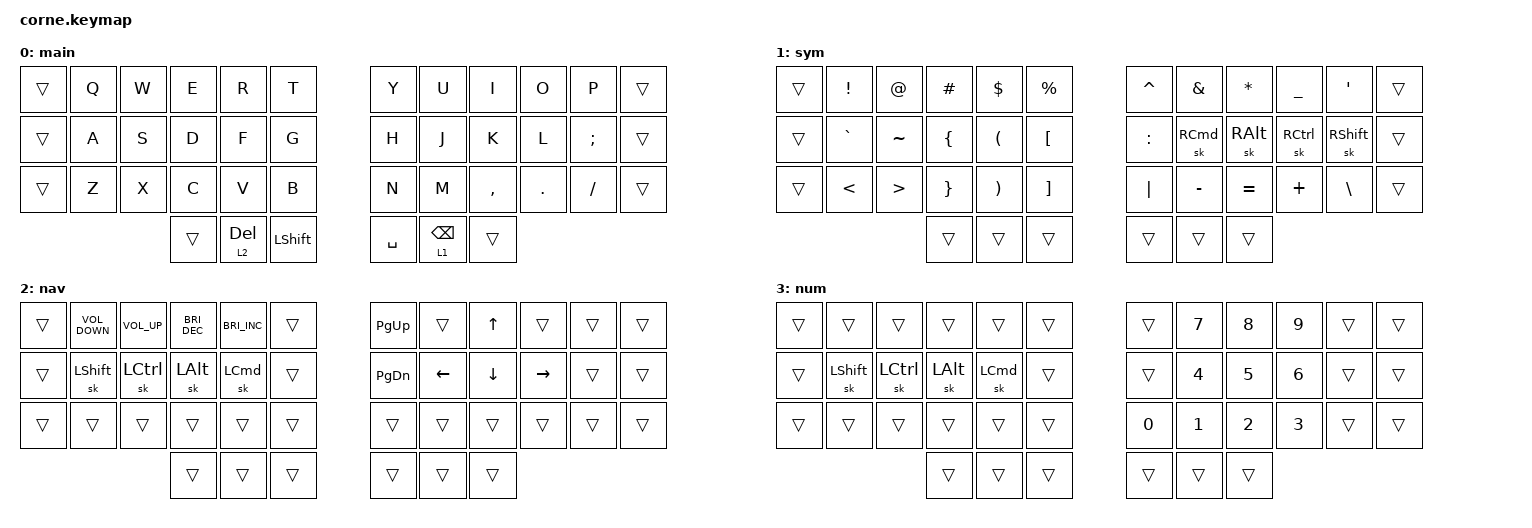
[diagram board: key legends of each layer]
/*
 * Copyright (c) 2020 The ZMK Contributors
 *
 * SPDX-License-Identifier: MIT
 */

#include <behaviors.dtsi>
#include <dt-bindings/zmk/keys.h>

&sk { release-after-ms = <2000>; };

/ {
    combos {
        compatible = "zmk,combos";

        esc {
            bindings = <&kp ESCAPE>;
            key-positions = <2 1>;
        };

        tab {
            bindings = <&kp TAB>;
            key-positions = <26 25>;
        };

        bsp {
            bindings = <&kp BACKSPACE>;
            key-positions = <9 10>;
        };

        ent {
            bindings = <&kp ENTER>;
            key-positions = <33 34>;
        };

        num {
            bindings = <&mo 3>;
            key-positions = <37 40>;
        };

        del {
            bindings = <&kp DEL>;
            key-positions = <21 22>;
        };

        caps {
            bindings = <&kp CAPS>;
            key-positions = <14 13>;
        };
    };

    keymap {
        compatible = "zmk,keymap";

        main_layer {
            // -----------------------------------------------------------------------------------------
            // |  TAB |  Q  |  W  |  E  |  R  |  T  |   |  Y  |  U   |  I  |  O  |  P  | BKSP |
            // | CTRL |  A  |  S  |  D  |  F  |  G  |   |  H  |  J   |  K  |  L  |  ;  |  '   |
            // | SHFT |  Z  |  X  |  C  |  V  |  B  |   |  N  |  M   |  ,  |  .  |  /  | ESC  |
            //                    | GUI | LWR | SPC |   | ENT | RSE  | ALT |

            display-name = "main";
            bindings = <
&trans  &kp Q  &kp W  &kp E   &kp R      &kp T             &kp Y      &kp U            &kp I      &kp O    &kp P          &trans
&trans  &kp A  &kp S  &kp D   &kp F      &kp G             &kp H      &kp J            &kp K      &kp L    &kp SEMICOLON  &trans
&trans  &kp Z  &kp X  &kp C   &kp V      &kp B             &kp N      &kp M            &kp COMMA  &kp DOT  &kp FSLH       &trans
                      &trans  &lt 2 DEL  &kp LEFT_SHIFT    &kp SPACE  &lt 1 BACKSPACE  &trans
            >;
        };

        sym_layer {
            // -----------------------------------------------------------------------------------------
            // |  TAB |  1  |  2  |  3  |  4  |  5  |   |  6  |  7  |  8  |  9  |  0  | BKSP |
            // | BTCLR| BT1 | BT2 | BT3 | BT4 | BT5 |   | LFT | DWN |  UP | RGT |     |      |
            // | SHFT |     |     |     |     |     |   |     |     |     |     |     |      |
            //                    | GUI |     | SPC |   | ENT |     | ALT |

            display-name = "sym";
            bindings = <
&trans  &kp EXCLAMATION  &kp AT_SIGN       &kp POUND        &kp DOLLAR             &kp PERCENT          &kp CARET  &kp AMPERSAND  &kp ASTERISK  &kp UNDERSCORE  &kp SQT        &trans
&trans  &kp GRAVE        &kp TILDE         &kp LEFT_BRACE   &kp LEFT_PARENTHESIS   &kp LEFT_BRACKET     &kp COLON  &sk RCMD       &sk RALT      &sk RCTRL       &sk RSHFT      &trans
&trans  &kp LESS_THAN    &kp GREATER_THAN  &kp RIGHT_BRACE  &kp RIGHT_PARENTHESIS  &kp RIGHT_BRACKET    &kp PIPE   &kp MINUS      &kp EQUAL     &kp PLUS        &kp BACKSLASH  &trans
                                           &trans           &trans                 &trans               &trans     &trans         &trans
            >;
        };

        nav_layer {
            // -----------------------------------------------------------------------------------------
            // |  TAB |  !  |  @  |  #  |  $  |  %  |   |  ^  |  &  |  *  |  (  |  )  | BKSP |
            // | CTRL |     |     |     |     |     |   |  -  |  =  |  [  |  ]  |  \  |  `   |
            // | SHFT |     |     |     |     |     |   |  _  |  +  |  {  |  }  | "|" |  ~   |
            //                    | GUI |     | SPC |   | ENT |     | ALT |

            display-name = "nav";
            bindings = <
&trans  &kp C_VOLUME_DOWN  &kp C_VOLUME_UP  &kp C_BRIGHTNESS_DEC  &kp C_BRIGHTNESS_INC  &trans    &kp PAGE_UP    &trans    &kp UP_ARROW  &trans     &trans  &trans
&trans  &sk LSHFT          &sk LCTRL        &sk LALT              &sk LCMD              &trans    &kp PAGE_DOWN  &kp LEFT  &kp DOWN      &kp RIGHT  &trans  &trans
&trans  &trans             &trans           &trans                &trans                &trans    &trans         &trans    &trans        &trans     &trans  &trans
                                            &trans                &trans                &trans    &trans         &trans    &trans
            >;
        };

        num_layer {
            bindings = <
&trans  &trans     &trans     &trans    &trans    &trans    &trans  &kp N7        &kp N8        &kp N9        &trans  &trans
&trans  &sk LSHFT  &sk LCTRL  &sk LALT  &sk LCMD  &trans    &trans  &kp NUMBER_4  &kp N5        &kp NUMBER_6  &trans  &trans
&trans  &trans     &trans     &trans    &trans    &trans    &kp N0  &kp NUMBER_1  &kp NUMBER_2  &kp NUMBER_3  &trans  &trans
                              &trans    &trans    &trans    &trans  &trans        &trans
            >;

            label = "num";
        };
    };
};
